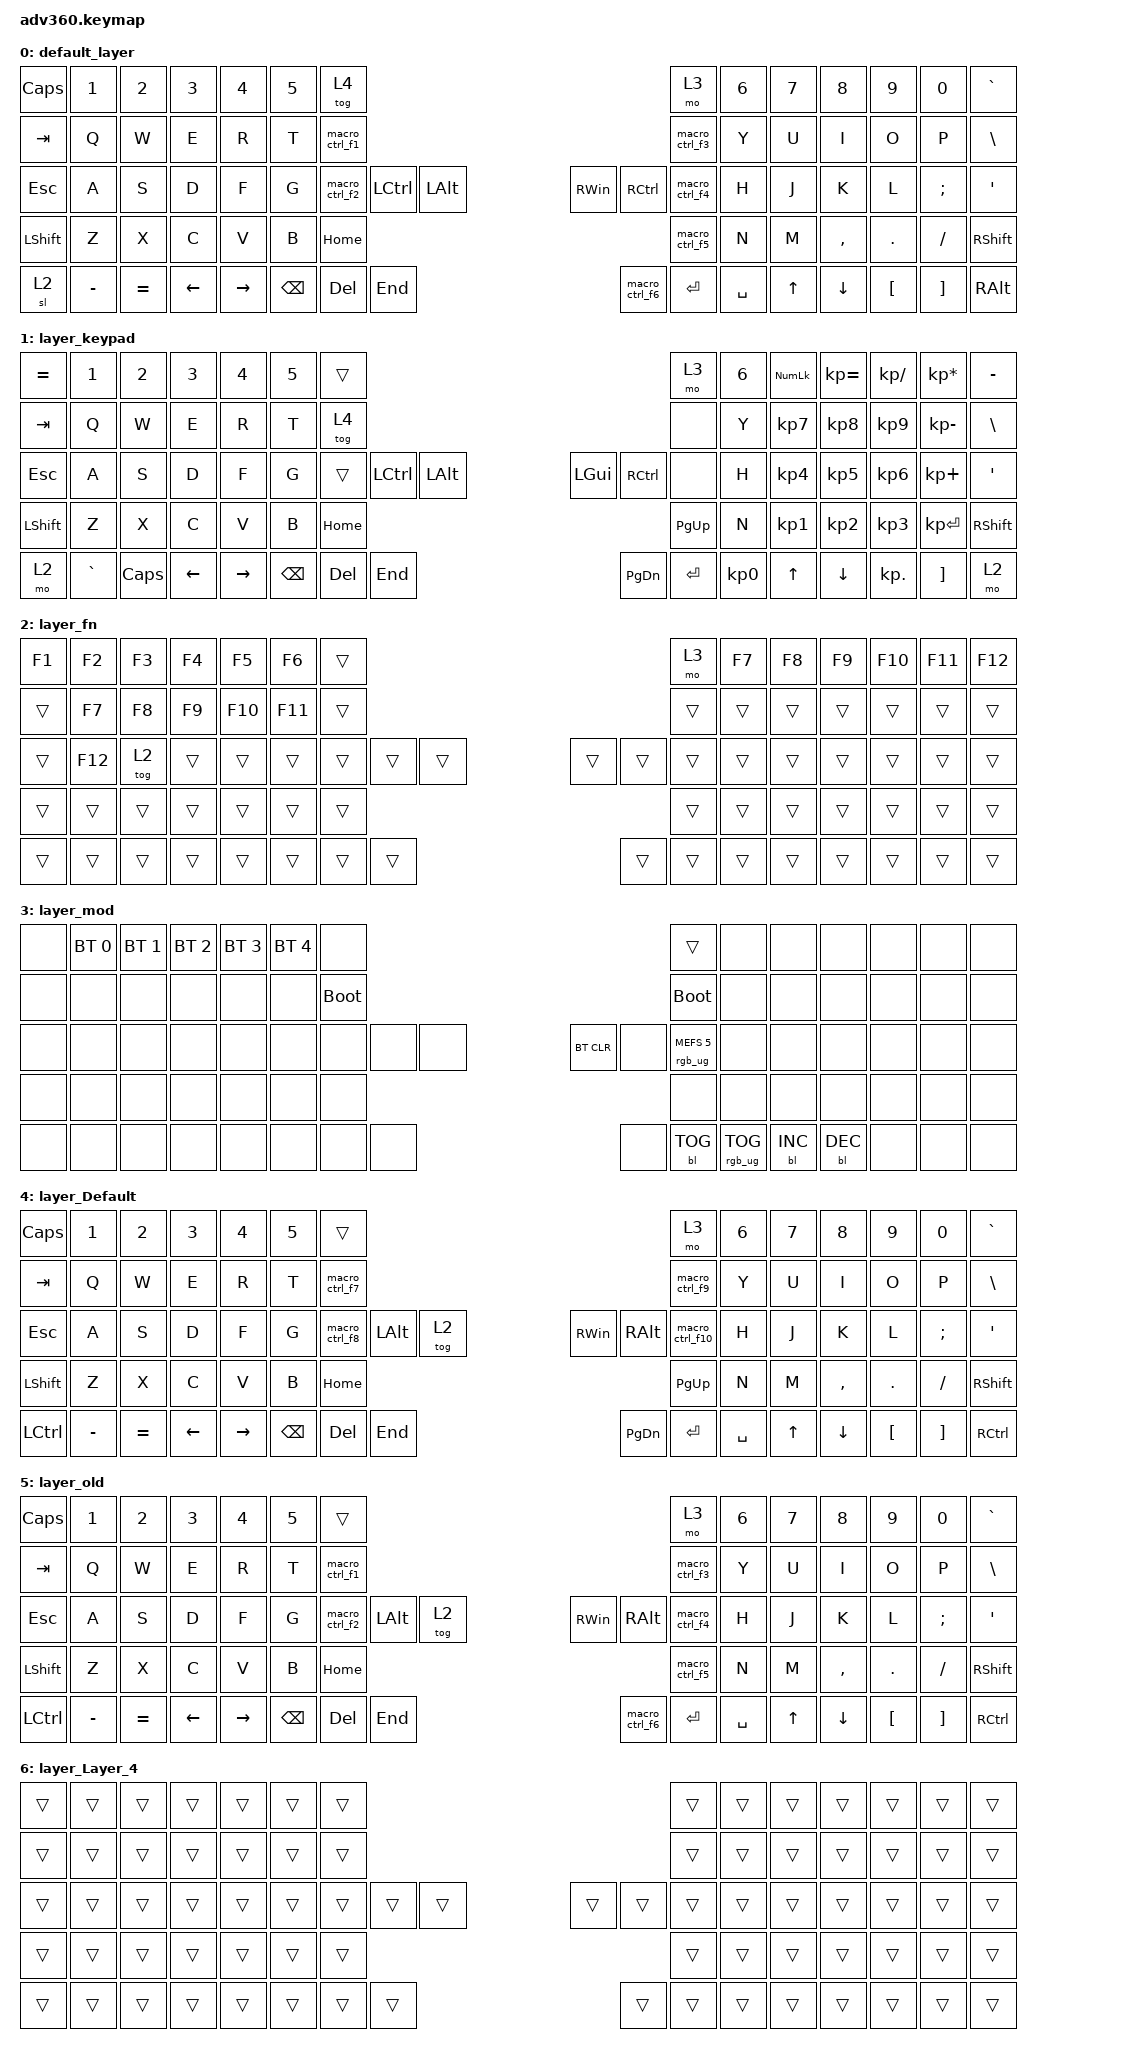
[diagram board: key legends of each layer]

/*
 * Copyright (c) 2020 The ZMK Contributors
 *
 * SPDX-License-Identifier: MIT
 */


/* THIS FILE WAS GENERATED!
 *
 * This file was generated automatically. You may or may not want to
 * edit it directly.
 */

#include <behaviors.dtsi>
#include <dt-bindings/zmk/keys.h>
#include <dt-bindings/zmk/bt.h>
#include <dt-bindings/zmk/rgb.h>
#include <dt-bindings/zmk/backlight.h>

/ {
  behaviors {
    #include "macros.dtsi"
    #include "version.dtsi"

    hm: homerow_mods {
        compatible = "zmk,behavior-hold-tap";
        label = "HOMEROW_MODS";
        #binding-cells = <2>;
        tapping-term-ms = <200>;
        quick_tap_ms = <175>;
        flavor = "tap-preferred";
        bindings = <&kp>, <&kp>;
    };
  };

    keymap {
        compatible = "zmk,keymap";


        default_layer {
            bindings = <
  &kp CAPS     &kp N1     &kp N2    &kp N3     &kp N4  &kp N5                    &tog 4                                                                                              &mo 3  &kp N6  &kp N7     &kp N8    &kp N9    &kp N0      &kp GRAVE
   &kp TAB      &kp Q      &kp W     &kp E      &kp R   &kp T            &macro_ctrl_f1                                                                                     &macro_ctrl_f3   &kp Y   &kp U      &kp I     &kp O     &kp P       &kp BSLH
   &kp ESC      &kp A      &kp S     &kp D      &kp F   &kp G            &macro_ctrl_f2  &kp LEFT_CONTROL  &kp LEFT_ALT                        &kp RWIN  &kp RIGHT_CONTROL  &macro_ctrl_f4   &kp H   &kp J      &kp K     &kp L  &kp SEMI        &kp SQT
 &kp LSHFT      &kp Z      &kp X     &kp C      &kp V   &kp B                                                  &kp HOME                  &macro_ctrl_f5                                      &kp N   &kp M  &kp COMMA   &kp DOT  &kp FSLH      &kp RSHFT
     &sl 2  &kp MINUS  &kp EQUAL  &kp LEFT  &kp RIGHT                          &kp BSPC           &kp DEL       &kp END                  &macro_ctrl_f6          &kp ENTER       &kp SPACE          &kp UP   &kp DOWN  &kp LBKT  &kp RBKT  &kp RIGHT_ALT
            >;
        };

        layer_keypad {
            bindings = <
 &kp EQUAL     &kp N1    &kp N2    &kp N3     &kp N4  &kp N5              &trans                                                                 &mo 3  &kp N6  &kp KP_NUM  &kp KP_EQUAL  &kp KP_DIVIDE  &kp KP_MULTIPLY  &kp MINUS
   &kp TAB      &kp Q     &kp W     &kp E      &kp R   &kp T              &tog 4                                                                 &none   &kp Y   &kp KP_N7     &kp KP_N8      &kp KP_N9     &kp KP_MINUS   &kp BSLH
   &kp ESC      &kp A     &kp S     &kp D      &kp F   &kp G              &trans  &kp LCTRL  &kp LALT                   &kp LGUI  &kp RCTRL      &none   &kp H   &kp KP_N4     &kp KP_N5      &kp KP_N6      &kp KP_PLUS    &kp SQT
 &kp LSHFT      &kp Z     &kp X     &kp C      &kp V   &kp B                                 &kp HOME                  &kp PG_UP                         &kp N   &kp KP_N1     &kp KP_N2      &kp KP_N3     &kp KP_ENTER  &kp RSHFT
     &mo 2  &kp GRAVE  &kp CAPS  &kp LEFT  &kp RIGHT                    &kp BSPC    &kp DEL   &kp END                  &kp PG_DN  &kp ENTER  &kp KP_N0              &kp UP      &kp DOWN     &kp KP_DOT         &kp RBKT      &mo 2
            >;
        };

        layer_fn {
            bindings = <
 &kp F1   &kp F2  &kp F3  &kp F4   &kp F5   &kp F6            &trans                                                   &mo 3  &kp F7  &kp F8  &kp F9  &kp F10  &kp F11  &kp F12
 &trans   &kp F7  &kp F8  &kp F9  &kp F10  &kp F11            &trans                                                  &trans  &trans  &trans  &trans   &trans   &trans   &trans
 &trans  &kp F12  &tog 2  &trans   &trans   &trans            &trans  &trans  &trans                  &trans  &trans  &trans  &trans  &trans  &trans   &trans   &trans   &trans
 &trans   &trans  &trans  &trans   &trans   &trans                            &trans                  &trans                  &trans  &trans  &trans   &trans   &trans   &trans
 &trans   &trans  &trans  &trans   &trans                     &trans  &trans  &trans                  &trans  &trans  &trans          &trans  &trans   &trans   &trans   &trans
            >;
        };

        layer_mod {
            bindings = <
  &none  &bt BT_SEL 0  &bt BT_SEL 1  &bt BT_SEL 2  &bt BT_SEL 3  &bt BT_SEL 4                  &none                                                                          &trans   &none       &none       &none   &none   &none   &none
  &none         &none         &none         &none         &none         &none            &bootloader                                                                     &bootloader   &none       &none       &none   &none   &none   &none
  &none         &none         &none         &none         &none         &none                  &none   &none   &none                  &bt BT_CLR       &none  &rgb_ug RGB_MEFS_CMD 5   &none       &none       &none   &none   &none   &none
  &none         &none         &none         &none         &none         &none                                  &none                       &none                                       &none       &none       &none   &none   &none   &none
  &none         &none         &none         &none         &none                                &none   &none   &none                       &none  &bl BL_TOG         &rgb_ug RGB_TOG          &bl BL_INC  &bl BL_DEC   &none   &none   &none
            >;
        };

        layer_Default {
            bindings = <
  &kp CAPS     &kp N1     &kp N2    &kp N3     &kp N4  &kp N5                    &trans                                                                              &mo 3  &kp N6  &kp N7     &kp N8    &kp N9    &kp N0  &kp GRAVE
   &kp TAB      &kp Q      &kp W     &kp E      &kp R   &kp T            &macro_ctrl_f7                                                                     &macro_ctrl_f9   &kp Y   &kp U      &kp I     &kp O     &kp P   &kp BSLH
   &kp ESC      &kp A      &kp S     &kp D      &kp F   &kp G            &macro_ctrl_f8  &kp LEFT_ALT    &tog 2                       &kp RWIN   &kp RALT  &macro_ctrl_f10   &kp H   &kp J      &kp K     &kp L  &kp SEMI    &kp SQT
 &kp LSHFT      &kp Z      &kp X     &kp C      &kp V   &kp B                                          &kp HOME                    &kp PAGE_UP                               &kp N   &kp M  &kp COMMA   &kp DOT  &kp FSLH  &kp RSHFT
 &kp LCTRL  &kp MINUS  &kp EQUAL  &kp LEFT  &kp RIGHT                          &kp BSPC       &kp DEL   &kp END                  &kp PAGE_DOWN  &kp ENTER        &kp SPACE          &kp UP   &kp DOWN  &kp LBKT  &kp RBKT  &kp RCTRL
            >;
        };

        layer_old {
            bindings = <
  &kp CAPS     &kp N1     &kp N2    &kp N3     &kp N4  &kp N5                    &trans                                                                              &mo 3  &kp N6  &kp N7     &kp N8    &kp N9    &kp N0  &kp GRAVE
   &kp TAB      &kp Q      &kp W     &kp E      &kp R   &kp T            &macro_ctrl_f1                                                                     &macro_ctrl_f3   &kp Y   &kp U      &kp I     &kp O     &kp P   &kp BSLH
   &kp ESC      &kp A      &kp S     &kp D      &kp F   &kp G            &macro_ctrl_f2  &kp LEFT_ALT    &tog 2                        &kp RWIN   &kp RALT  &macro_ctrl_f4   &kp H   &kp J      &kp K     &kp L  &kp SEMI    &kp SQT
 &kp LSHFT      &kp Z      &kp X     &kp C      &kp V   &kp B                                          &kp HOME                  &macro_ctrl_f5                              &kp N   &kp M  &kp COMMA   &kp DOT  &kp FSLH  &kp RSHFT
 &kp LCTRL  &kp MINUS  &kp EQUAL  &kp LEFT  &kp RIGHT                          &kp BSPC       &kp DEL   &kp END                  &macro_ctrl_f6  &kp ENTER       &kp SPACE          &kp UP   &kp DOWN  &kp LBKT  &kp RBKT  &kp RCTRL
            >;
        };

        layer_Layer_4 {
            bindings = <
 &trans  &trans  &trans  &trans  &trans  &trans            &trans                                                  &trans  &trans  &trans  &trans  &trans  &trans  &trans
 &trans  &trans  &trans  &trans  &trans  &trans            &trans                                                  &trans  &trans  &trans  &trans  &trans  &trans  &trans
 &trans  &trans  &trans  &trans  &trans  &trans            &trans  &trans  &trans                  &trans  &trans  &trans  &trans  &trans  &trans  &trans  &trans  &trans
 &trans  &trans  &trans  &trans  &trans  &trans                            &trans                  &trans                  &trans  &trans  &trans  &trans  &trans  &trans
 &trans  &trans  &trans  &trans  &trans                    &trans  &trans  &trans                  &trans  &trans  &trans          &trans  &trans  &trans  &trans  &trans
            >;
        };

    };
};
